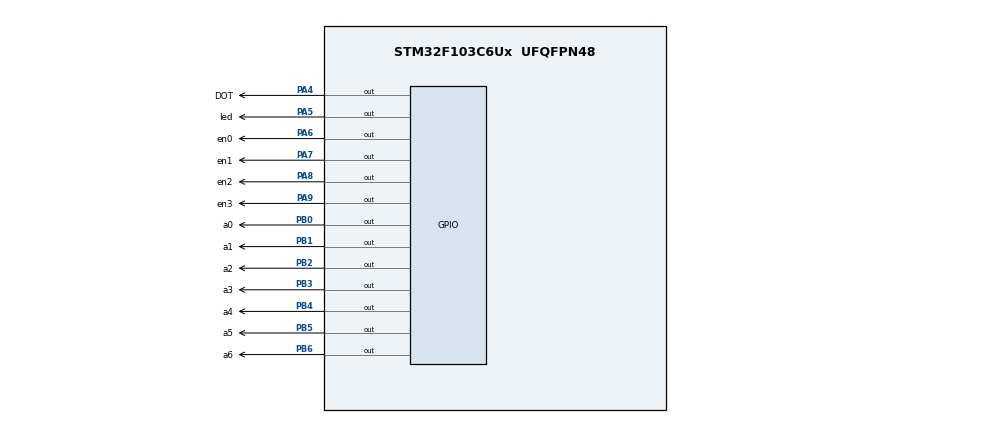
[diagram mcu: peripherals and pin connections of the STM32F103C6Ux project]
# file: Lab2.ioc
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Mcu.Family=STM32F1
Mcu.Name=STM32F103C6Ux
Mcu.Package=UFQFPN48
NVIC.PriorityGroup=NVIC_PRIORITYGROUP_4
NVIC.TIM2_IRQn=true\:0\:0\:false\:false\:true\:true\:true
PA4.GPIO_Label=DOT
PA4.Signal=GPIO_Output
PA5.GPIO_Label=led
PA5.Signal=GPIO_Output
PA6.GPIO_Label=en0
PA6.Signal=GPIO_Output
PA7.GPIO_Label=en1
PA7.Signal=GPIO_Output
PA8.GPIO_Label=en2
PA8.Signal=GPIO_Output
PA9.GPIO_Label=en3
PA9.Signal=GPIO_Output
PB0.GPIO_Label=a0
PB0.Signal=GPIO_Output
PB1.GPIO_Label=a1
PB1.Signal=GPIO_Output
PB2.GPIO_Label=a2
PB2.Signal=GPIO_Output
PB3.GPIO_Label=a3
PB3.Signal=GPIO_Output
PB4.GPIO_Label=a4
PB4.Signal=GPIO_Output
PB5.GPIO_Label=a5
PB5.Signal=GPIO_Output
PB6.GPIO_Label=a6
PB6.Signal=GPIO_Output
ProjectManager.HeapSize=0x200
ProjectManager.StackSize=0x400
ProjectManager.TargetToolchain=STM32CubeIDE
RCC.APB1Freq_Value=8000000
RCC.APB2Freq_Value=8000000
TIM2.Period=9
TIM2.Prescaler=7999
VP_SYS_VS_ND.Mode=No_Debug
VP_TIM2_VS_ClockSourceINT.Mode=Internal
board=custom

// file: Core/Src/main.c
/* USER CODE BEGIN Header */
/* USER CODE END Header */
#include "main.h"

TIM_HandleTypeDef htim2;

void SystemClock_Config(void);
static void MX_GPIO_Init(void);
static void MX_TIM2_Init(void);

/* USER CODE BEGIN 0 */
void clear7SEG() {
    HAL_GPIO_WritePin(a0_GPIO_Port, a0_Pin, GPIO_PIN_SET);
    HAL_GPIO_WritePin(a1_GPIO_Port, a1_Pin, GPIO_PIN_SET);
    HAL_GPIO_WritePin(a2_GPIO_Port, a2_Pin, GPIO_PIN_SET);
    HAL_GPIO_WritePin(a3_GPIO_Port, a3_Pin, GPIO_PIN_SET);
    HAL_GPIO_WritePin(a4_GPIO_Port, a4_Pin, GPIO_PIN_SET);
    HAL_GPIO_WritePin(a5_GPIO_Port, a5_Pin, GPIO_PIN_SET);
    HAL_GPIO_WritePin(a6_GPIO_Port, a6_Pin, GPIO_PIN_SET);
}

void display7SEG (int num) {
    clear7SEG();
    switch (num) {
        case 0: HAL_GPIO_WritePin(a0_GPIO_Port,a0_Pin,GPIO_PIN_RESET);
                HAL_GPIO_WritePin(a1_GPIO_Port,a1_Pin,GPIO_PIN_RESET);
                HAL_GPIO_WritePin(a2_GPIO_Port,a2_Pin,GPIO_PIN_RESET);
                HAL_GPIO_WritePin(a3_GPIO_Port,a3_Pin,GPIO_PIN_RESET);
                HAL_GPIO_WritePin(a4_GPIO_Port,a4_Pin,GPIO_PIN_RESET);
                HAL_GPIO_WritePin(a5_GPIO_Port,a5_Pin,GPIO_PIN_RESET);
                break;
        case 1: HAL_GPIO_WritePin(a1_GPIO_Port,a1_Pin,GPIO_PIN_RESET);
                HAL_GPIO_WritePin(a2_GPIO_Port,a2_Pin,GPIO_PIN_RESET);
                break;
        case 2: HAL_GPIO_WritePin(a0_GPIO_Port,a0_Pin,GPIO_PIN_RESET);
                HAL_GPIO_WritePin(a1_GPIO_Port,a1_Pin,GPIO_PIN_RESET);
                HAL_GPIO_WritePin(a3_GPIO_Port,a3_Pin,GPIO_PIN_RESET);
                HAL_GPIO_WritePin(a4_GPIO_Port,a4_Pin,GPIO_PIN_RESET);
                HAL_GPIO_WritePin(a6_GPIO_Port,a6_Pin,GPIO_PIN_RESET);
                break;
        case 3: HAL_GPIO_WritePin(a0_GPIO_Port,a0_Pin,GPIO_PIN_RESET);
                HAL_GPIO_WritePin(a1_GPIO_Port,a1_Pin,GPIO_PIN_RESET);
                HAL_GPIO_WritePin(a2_GPIO_Port,a2_Pin,GPIO_PIN_RESET);
                HAL_GPIO_WritePin(a3_GPIO_Port,a3_Pin,GPIO_PIN_RESET);
                HAL_GPIO_WritePin(a6_GPIO_Port,a6_Pin,GPIO_PIN_RESET);
                break;
        case 4: HAL_GPIO_WritePin(a1_GPIO_Port,a1_Pin,GPIO_PIN_RESET);
                HAL_GPIO_WritePin(a2_GPIO_Port,a2_Pin,GPIO_PIN_RESET);
                HAL_GPIO_WritePin(a5_GPIO_Port,a5_Pin,GPIO_PIN_RESET);
                HAL_GPIO_WritePin(a6_GPIO_Port,a6_Pin,GPIO_PIN_RESET);
                break;
        case 5: HAL_GPIO_WritePin(a0_GPIO_Port,a0_Pin,GPIO_PIN_RESET);
                HAL_GPIO_WritePin(a2_GPIO_Port,a2_Pin,GPIO_PIN_RESET);
                HAL_GPIO_WritePin(a3_GPIO_Port,a3_Pin,GPIO_PIN_RESET);
                HAL_GPIO_WritePin(a5_GPIO_Port,a5_Pin,GPIO_PIN_RESET);
                HAL_GPIO_WritePin(a6_GPIO_Port,a6_Pin,GPIO_PIN_RESET);
                break;
        case 6: HAL_GPIO_WritePin(a0_GPIO_Port,a0_Pin,GPIO_PIN_RESET);
                HAL_GPIO_WritePin(a2_GPIO_Port,a2_Pin,GPIO_PIN_RESET);
                HAL_GPIO_WritePin(a3_GPIO_Port,a3_Pin,GPIO_PIN_RESET);
                HAL_GPIO_WritePin(a4_GPIO_Port,a4_Pin,GPIO_PIN_RESET);
                HAL_GPIO_WritePin(a5_GPIO_Port,a5_Pin,GPIO_PIN_RESET);
                HAL_GPIO_WritePin(a6_GPIO_Port,a6_Pin,GPIO_PIN_RESET);
                break;
        case 7: HAL_GPIO_WritePin(a0_GPIO_Port,a0_Pin,GPIO_PIN_RESET);
                HAL_GPIO_WritePin(a1_GPIO_Port,a1_Pin,GPIO_PIN_RESET);
                HAL_GPIO_WritePin(a2_GPIO_Port,a2_Pin,GPIO_PIN_RESET);
                break;
        case 8: HAL_GPIO_WritePin(a0_GPIO_Port,a0_Pin,GPIO_PIN_RESET);
                HAL_GPIO_WritePin(a1_GPIO_Port,a1_Pin,GPIO_PIN_RESET);
                HAL_GPIO_WritePin(a2_GPIO_Port,a2_Pin,GPIO_PIN_RESET);
                HAL_GPIO_WritePin(a3_GPIO_Port,a3_Pin,GPIO_PIN_RESET);
                HAL_GPIO_WritePin(a4_GPIO_Port,a4_Pin,GPIO_PIN_RESET);
                HAL_GPIO_WritePin(a5_GPIO_Port,a5_Pin,GPIO_PIN_RESET);
                HAL_GPIO_WritePin(a6_GPIO_Port,a6_Pin,GPIO_PIN_RESET);
                break;
        case 9: HAL_GPIO_WritePin(a0_GPIO_Port,a0_Pin,GPIO_PIN_RESET);
                HAL_GPIO_WritePin(a1_GPIO_Port,a1_Pin,GPIO_PIN_RESET);
                HAL_GPIO_WritePin(a2_GPIO_Port,a2_Pin,GPIO_PIN_RESET);
                HAL_GPIO_WritePin(a3_GPIO_Port,a3_Pin,GPIO_PIN_RESET);
                HAL_GPIO_WritePin(a5_GPIO_Port,a5_Pin,GPIO_PIN_RESET);
                HAL_GPIO_WritePin(a6_GPIO_Port,a6_Pin,GPIO_PIN_RESET);
                break;
        default: clear7SEG(); break;
    }
}
void initState() {
    // tắt tất cả các đoạn
    clear7SEG();

    // disable tất cả 4 LED 7 đoạn
    HAL_GPIO_WritePin(en0_GPIO_Port, en0_Pin, GPIO_PIN_SET);
    HAL_GPIO_WritePin(en1_GPIO_Port, en1_Pin, GPIO_PIN_SET);
    HAL_GPIO_WritePin(en2_GPIO_Port, en2_Pin, GPIO_PIN_SET);
    HAL_GPIO_WritePin(en3_GPIO_Port, en3_Pin, GPIO_PIN_SET);

    // tắt 2 LED dot và led_red
    HAL_GPIO_WritePin(DOT_GPIO_Port, DOT_Pin, GPIO_PIN_RESET);
    HAL_GPIO_WritePin(led_GPIO_Port, led_Pin, GPIO_PIN_RESET);
}
void clearEN() {
    HAL_GPIO_WritePin(en0_GPIO_Port, en0_Pin, GPIO_PIN_SET);
    HAL_GPIO_WritePin(en1_GPIO_Port, en1_Pin, GPIO_PIN_SET);
    HAL_GPIO_WritePin(en2_GPIO_Port, en2_Pin, GPIO_PIN_SET);
    HAL_GPIO_WritePin(en3_GPIO_Port, en3_Pin, GPIO_PIN_SET);
}
const unsigned int MAX_LED = 4;
int led_buffer[4] = {0, 0, 0, 0};
void update7SEG(int index) {
	clearEN();
    switch (index) {
        case 0:
            display7SEG(led_buffer[0]);
            HAL_GPIO_WritePin(en0_GPIO_Port, en0_Pin, GPIO_PIN_RESET);
            break;
        case 1:
            display7SEG(led_buffer[1]);
            HAL_GPIO_WritePin(en1_GPIO_Port, en1_Pin, GPIO_PIN_RESET);
            break;
        case 2:
            display7SEG(led_buffer[2]);
            HAL_GPIO_WritePin(en2_GPIO_Port, en2_Pin, GPIO_PIN_RESET);
            break;
        case 3:
            display7SEG(led_buffer[3]);
            HAL_GPIO_WritePin(en3_GPIO_Port, en3_Pin, GPIO_PIN_RESET);
            break;
        default:
            break;
    }
}
void updateClockBuffer(int hour, int minute) {
	led_buffer[0] = hour / 10;
	led_buffer[1] = hour % 10;
	led_buffer[2] = minute / 10;
	led_buffer[3] = minute % 10;
}

/* USER CODE END 0 */

int main(void)
{

  /* MCU Configuration--------------------------------------------------------*/

  /* Reset of all peripherals, Initializes the Flash interface and the Systick. */
  HAL_Init();

  /* Configure the system clock */
  SystemClock_Config();

  /* Initialize all configured peripherals */
  MX_GPIO_Init();
  MX_TIM2_Init();
  /* USER CODE BEGIN 2 */
  HAL_TIM_Base_Start_IT (&htim2);
   initState();
  /* USER CODE END 2 */

  /* Infinite loop */
  /* USER CODE BEGIN WHILE */
   int hour = 15, minute = 59, second = 58;
   second--;
   while (1)
    {

    /* USER CODE END WHILE */

    /* USER CODE BEGIN 3 */
	   second++;
	               if (second >= 60) {
	                   second = 0;
	                   minute++;
	               }
	               if (minute >= 60) {
	                   minute = 0;
	                   hour++;
	               }
	               if (hour >= 24) {
	                   hour = 0;
	               }

	               // �?� cập nhật buffer MỖI GIÂY, không phụ thuộc vào reset
	               updateClockBuffer(hour, minute);

	         	  HAL_Delay(1000);
    }
  /* USER CODE END 3 */
}

void SystemClock_Config(void)
{
  RCC_OscInitTypeDef RCC_OscInitStruct = {0};
  RCC_ClkInitTypeDef RCC_ClkInitStruct = {0};

  /** Initializes the RCC Oscillators according to the specified parameters
  * in the RCC_OscInitTypeDef structure.
  */
  RCC_OscInitStruct.OscillatorType = RCC_OSCILLATORTYPE_HSI;
  RCC_OscInitStruct.HSIState = RCC_HSI_ON;
  RCC_OscInitStruct.HSICalibrationValue = RCC_HSICALIBRATION_DEFAULT;
  RCC_OscInitStruct.PLL.PLLState = RCC_PLL_NONE;
  if (HAL_RCC_OscConfig(&RCC_OscInitStruct) != HAL_OK)
  {
    Error_Handler();
  }
  /** Initializes the CPU, AHB and APB buses clocks
  */
  RCC_ClkInitStruct.ClockType = RCC_CLOCKTYPE_HCLK|RCC_CLOCKTYPE_SYSCLK
                              |RCC_CLOCKTYPE_PCLK1|RCC_CLOCKTYPE_PCLK2;
  RCC_ClkInitStruct.SYSCLKSource = RCC_SYSCLKSOURCE_HSI;
  RCC_ClkInitStruct.AHBCLKDivider = RCC_SYSCLK_DIV1;
  RCC_ClkInitStruct.APB1CLKDivider = RCC_HCLK_DIV1;
  RCC_ClkInitStruct.APB2CLKDivider = RCC_HCLK_DIV1;

  if (HAL_RCC_ClockConfig(&RCC_ClkInitStruct, FLASH_LATENCY_0) != HAL_OK)
  {
    Error_Handler();
  }
}

static void MX_TIM2_Init(void)
{

  TIM_ClockConfigTypeDef sClockSourceConfig = {0};
  TIM_MasterConfigTypeDef sMasterConfig = {0};

  htim2.Instance = TIM2;
  htim2.Init.Prescaler = 7999;
  htim2.Init.CounterMode = TIM_COUNTERMODE_UP;
  htim2.Init.Period = 9;
  htim2.Init.ClockDivision = TIM_CLOCKDIVISION_DIV1;
  htim2.Init.AutoReloadPreload = TIM_AUTORELOAD_PRELOAD_DISABLE;
  if (HAL_TIM_Base_Init(&htim2) != HAL_OK)
  {
    Error_Handler();
  }
  sClockSourceConfig.ClockSource = TIM_CLOCKSOURCE_INTERNAL;
  if (HAL_TIM_ConfigClockSource(&htim2, &sClockSourceConfig) != HAL_OK)
  {
    Error_Handler();
  }
  sMasterConfig.MasterOutputTrigger = TIM_TRGO_RESET;
  sMasterConfig.MasterSlaveMode = TIM_MASTERSLAVEMODE_DISABLE;
  if (HAL_TIMEx_MasterConfigSynchronization(&htim2, &sMasterConfig) != HAL_OK)
  {
    Error_Handler();
  }

}

static void MX_GPIO_Init(void)
{
  GPIO_InitTypeDef GPIO_InitStruct = {0};

  /* GPIO Ports Clock Enable */
  __HAL_RCC_GPIOA_CLK_ENABLE();
  __HAL_RCC_GPIOB_CLK_ENABLE();

  /*Configure GPIO pin Output Level */
  HAL_GPIO_WritePin(GPIOA, DOT_Pin|led_Pin|en0_Pin|en1_Pin
                          |en2_Pin|en3_Pin, GPIO_PIN_RESET);

  /*Configure GPIO pin Output Level */
  HAL_GPIO_WritePin(GPIOB, a0_Pin|a1_Pin|a2_Pin|a3_Pin
                          |a4_Pin|a5_Pin|a6_Pin, GPIO_PIN_RESET);

  /*Configure GPIO pins : DOT_Pin led_Pin en0_Pin en1_Pin
                           en2_Pin en3_Pin */
  GPIO_InitStruct.Pin = DOT_Pin|led_Pin|en0_Pin|en1_Pin
                          |en2_Pin|en3_Pin;
  GPIO_InitStruct.Mode = GPIO_MODE_OUTPUT_PP;
  GPIO_InitStruct.Pull = GPIO_NOPULL;
  GPIO_InitStruct.Speed = GPIO_SPEED_FREQ_LOW;
  HAL_GPIO_Init(GPIOA, &GPIO_InitStruct);

  /*Configure GPIO pins : a0_Pin a1_Pin a2_Pin a3_Pin
                           a4_Pin a5_Pin a6_Pin */
  GPIO_InitStruct.Pin = a0_Pin|a1_Pin|a2_Pin|a3_Pin
                          |a4_Pin|a5_Pin|a6_Pin;
  GPIO_InitStruct.Mode = GPIO_MODE_OUTPUT_PP;
  GPIO_InitStruct.Pull = GPIO_NOPULL;
  GPIO_InitStruct.Speed = GPIO_SPEED_FREQ_LOW;
  HAL_GPIO_Init(GPIOB, &GPIO_InitStruct);

}

/* USER CODE BEGIN 4 */
int counter = 50;
int idx = 0;
void HAL_TIM_PeriodElapsedCallback(TIM_HandleTypeDef *htim) {
    if (htim->Instance == TIM2) {
        counter--;

        if (counter == 25 || counter == 0) {
            if (counter == 0) {
                counter = 50; // Reset sau 0.5s
                HAL_GPIO_TogglePin(GPIOA, led_Pin | DOT_Pin); // DOT blink mỗi 1s
            }

            update7SEG(idx);
            idx = (idx + 1) % 4;
        }
    }
}

/* USER CODE END 4 */

void Error_Handler(void)
{
}

/************************ (C) COPYRIGHT STMicroelectronics *****END OF FILE****/
